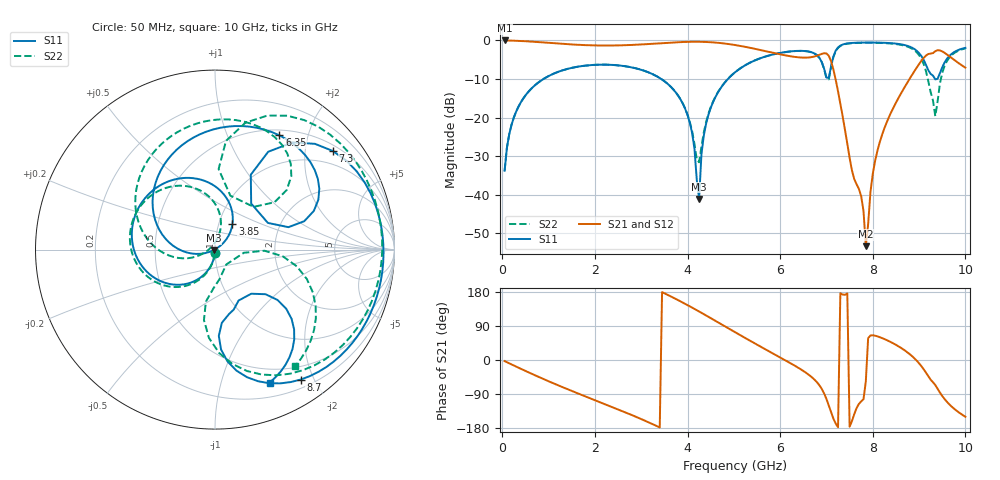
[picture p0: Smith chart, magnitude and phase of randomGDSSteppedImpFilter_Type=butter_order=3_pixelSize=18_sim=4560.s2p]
! freq	dB(S11)	phase(S11)	dB(S12)	phase(S12)
!  dB(S21)	phase(S21)	dB(S22)	phase(S22)
!S-par simulation data
#  GHz  S  DB  R 50
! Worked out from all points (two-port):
!   200 points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, 50 MHz to 10 GHz, reference 50 ohm
!   highest |S21| = -0.01 dB at 50 MHz (marker M1); lowest = -53.4 dB at 7.85 GHz (marker M2)
!   |S21| within 3 dB of the highest: start of sweep to 5.77 GHz; 9.329 GHz to 9.522 GHz (192.8 MHz wide, 2.05 % of centre)
!   lowest |S11| = -41.1 dB at 4.25 GHz (marker M3), VSWR 1.02, Z = 49.2 - j0.31 ohm
!   |S11| at or under -10 dB: start of sweep to 889.3 MHz; 3.432 GHz to 4.873 GHz (1.441 GHz wide, 34.7 % of centre); 9.344954 GHz to 9.382314 GHz (37.36 MHz wide, 0.399 % of centre)
!   |S22| runs from -33.8 to -0.6 dB; largest |S21 - S12| = 0
!   S11 on the Smith chart (normalised r, x): 50 MHz: 1.00, -0.04; 3.85 GHz: 1.16, +0.34; 6.35 GHz: 0.57, +1.56; 7.3 GHz: 0.64, +2.62; 8.7 GHz: 0.31, -1.81; 10 GHz: 0.35, -1.43
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0.05  -33.80 -92.9  -0.01 -3.0  -0.01 -3.0  -33.80 -92.7
0.5  -14.26 -120.4  -0.21 -28.8  -0.21 -28.8  -14.26 -118.4
1.75  -6.60 171.8  -1.20 -93.8  -1.20 -93.8  -6.59 179.4
3.4  -9.75 83.8  -0.74 -178.0  -0.74 -178.0  -9.75 101.4
3.85  -15.34 55.5  -0.43 154.6  -0.43 154.6  -15.29 79.3
4.1  -24.09 39.0  -0.35 138.2  -0.35 138.2  -23.60 77.2
4.25  -41.12 -159.0  -0.35 128.0  -0.35 128.0  -31.60 157.1
4.45  -19.34 -167.1  -0.43 114.1  -0.43 114.1  -19.06 -159.7
5.05  -8.04 149.6  -1.24 71.7  -1.24 71.7  -8.01 168.7
6.35  -2.73 60.6  -4.33 -17.4  -4.33 -17.4  -2.75 84.3
6.7  -3.15 34.5  -4.28 -47.1  -4.28 -47.1  -3.18 57.7
7  -9.63 26.8  -3.39 -103.0  -3.39 -103.0  -9.87 47.9
7.3  -1.35 39.9  -16.37 176.2  -16.37 176.2  -1.43 61.6
7.75  -0.55 2.0  -40.41 -109.1  -40.41 -109.1  -0.62 20.5
7.85  -0.54 -4.3  -53.35 -56.0  -53.35 -56.0  -0.60 13.3
8.05  -0.55 -16.4  -31.27 64.1  -31.27 64.1  -0.62 -0.6
8.35  -0.67 -34.1  -19.86 49.7  -19.86 49.7  -0.77 -21.6
8.7  -1.24 -56.6  -11.87 24.5  -11.87 24.5  -1.41 -49.4
9.1  -5.08 -86.5  -4.53 -24.5  -4.53 -24.5  -6.14 -93.9
9.35  -10.10 -65.1  -2.79 -66.0  -2.79 -66.0  -19.65 -52.8
9.55  -5.74 -39.7  -3.21 -102.9  -3.21 -102.9  -6.63 -11.6
10  -1.93 -67.7  -7.07 -149.8  -7.07 -149.8  -2.06 -55.6
